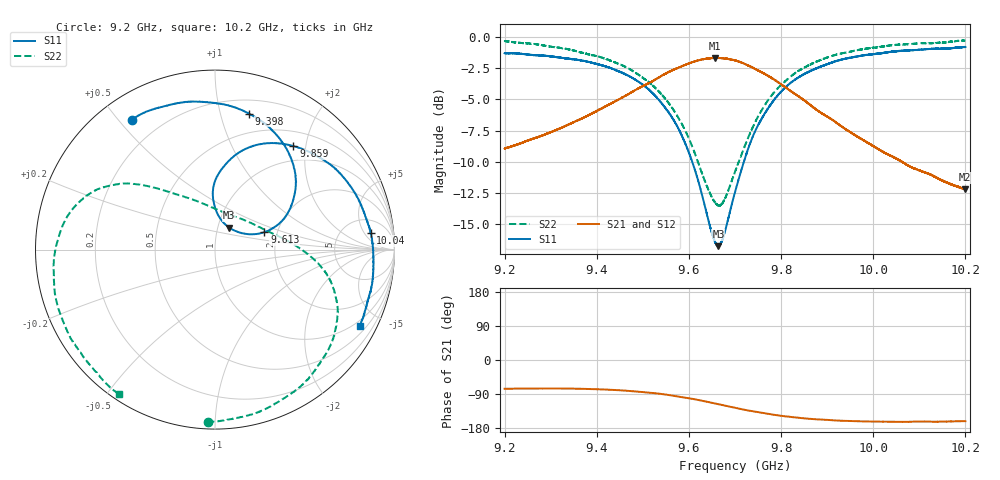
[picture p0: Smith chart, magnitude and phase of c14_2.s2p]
!Agilent Technologies,N5242A,MY51221714,A.09.90.19
!Agilent N5242A: A.09.90.19
!Date: Saturday, January 13, 2024 13:23:36
!Correction: S11(Full 2 Port(1,2))
!S21(Full 2 Port(1,2))
!S12(Full 2 Port(1,2))
!S22(Full 2 Port(1,2))
!S2P File: Measurements: S11, S21, S12, S22:
# Hz S  dB  R 50
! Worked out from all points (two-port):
!   16001 points, 9.2 GHz to 10.2 GHz, reference 50 ohm
!   highest |S21| = -1.68 dB at 9.657 GHz (marker M1); lowest = -12.2 dB at 10.2 GHz (marker M2)
!   |S21| within 3 dB of the highest: 9.463967 GHz to 9.464152 GHz (184.2 kHz wide, 0.00195 % of centre); 9.464 GHz to 9.835 GHz (370.5 MHz wide, 3.84 % of centre)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
!   lowest |S11| = -16.8 dB at 9.664 GHz (marker M3), VSWR 1.34, Z = 56.8 + j14.1 ohm
!   |S11| at or under -10 dB: 9.607 GHz to 9.719 GHz (111.8 MHz wide, 1.16 % of centre)
!   |S22| runs from -13.5 to -0.3 dB; largest |S21 - S12| = 0.029
!   S11 on the Smith chart (normalised r, x): 9.2 GHz: 0.10, +0.54; 9.398 GHz: 0.32, +1.23; 9.613 GHz: 1.71, +0.36; 9.859 GHz: 0.74, +1.77; 10.04 GHz: 9, +7; 10.2 GHz: 0.78, -3.91
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9.2e9  -1.31 122.7  -8.94 -75.9  -8.91 -77.9  -0.33 -92.5
9.274438e9  -1.47 106.0  -7.98 -75.3  -7.96 -77.0  -0.62 -72.4
9.366688e9  -1.89 84.1  -6.55 -76.0  -6.52 -77.8  -1.25 -48.5
9.398438e9  -2.15 75.9  -5.96 -77.1  -5.93 -78.9  -1.53 -40.5
9.46475e9  -3.05 57.7  -4.66 -81.0  -4.65 -82.8  -2.45 -25.2
9.533375e9  -4.98 37.3  -3.27 -88.7  -3.23 -90.4  -4.31 -9.9
9.576625e9  -7.31 24.9  -2.47 -96.2  -2.43 -98.1  -6.46 0.5
9.61325e9  -10.68 19.5  -1.95 -103.9  -1.93 -105.8  -9.36 14.7
9.657188e9  -16.45 46.0  -1.68 -114.9  -1.67 -116.7  -13.28 57.0
9.664062e9  -16.75 56.8  -1.69 -116.6  -1.67 -118.5  -13.51 67.4
9.7e9  -12.44 90.1  -1.88 -126.0  -1.84 -128.0  -10.81 110.3
9.739875e9  -7.85 88.6  -2.49 -135.7  -2.46 -137.7  -7.12 131.2
9.787688e9  -4.90 75.0  -3.47 -145.1  -3.48 -147.2  -4.32 142.8
9.822625e9  -3.63 64.1  -4.38 -150.5  -4.37 -152.4  -3.12 149.7
9.858938e9  -2.82 52.8  -5.33 -155.0  -5.30 -156.9  -2.29 156.4
9.866688e9  -2.69 50.6  -5.54 -155.8  -5.53 -157.7  -2.15 157.8
9.944062e9  -1.70 29.3  -7.48 -160.8  -7.47 -162.7  -1.22 173.9
1.003338e10  -1.22 7.6  -9.44 -162.8  -9.41 -164.9  -0.69 -165.4
1.003931e10  -1.19 6.2  -9.54 -162.9  -9.53 -164.9  -0.68 -164.0
1.010781e10  -1.01 -8.6  -10.79 -162.4  -10.79 -164.4  -0.50 -147.3
1.019988e10  -0.81 -27.6  -12.21 -161.4  -12.20 -163.6  -0.29 -123.6
1.02e10  -0.81 -27.7  -12.19 -161.4  -12.20 -163.5  -0.29 -123.5
